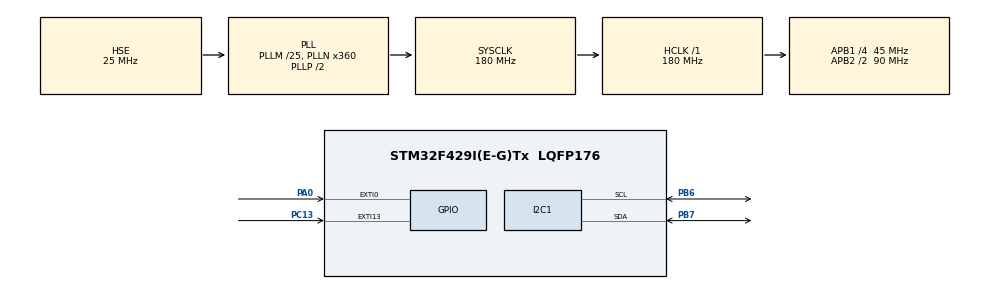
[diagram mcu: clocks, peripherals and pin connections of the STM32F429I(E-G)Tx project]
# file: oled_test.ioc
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I2C1.I2C_Mode=I2C_Fast
Mcu.Family=STM32F4
Mcu.Name=STM32F429I(E-G)Tx
Mcu.Package=LQFP176
NVIC.EXTI0_IRQn=true\:0\:0\:false\:false\:true\:true
NVIC.EXTI15_10_IRQn=true\:0\:0\:false\:false\:true\:true
NVIC.PriorityGroup=NVIC_PRIORITYGROUP_4
PA0/WKUP.GPIO_PuPd=GPIO_PULLDOWN
PA0/WKUP.Signal=GPXTI0
PB6.Mode=I2C
PB6.Signal=I2C1_SCL
PB7.Mode=I2C
PB7.Signal=I2C1_SDA
PC13.GPIO_PuPd=GPIO_PULLDOWN
PC13.Signal=GPXTI13
PH0/OSC_IN.Mode=HSE-External-Oscillator
PH0/OSC_IN.Signal=RCC_OSC_IN
PH1/OSC_OUT.Mode=HSE-External-Oscillator
PH1/OSC_OUT.Signal=RCC_OSC_OUT
ProjectManager.HeapSize=0x200
ProjectManager.StackSize=0x400
ProjectManager.TargetToolchain=MDK-ARM V5
RCC.48MHZClocksFreq_Value=90000000
RCC.AHBFreq_Value=180000000
RCC.APB1CLKDivider=RCC_HCLK_DIV4
RCC.APB1Freq_Value=45000000
RCC.APB1TimFreq_Value=90000000
RCC.APB2CLKDivider=RCC_HCLK_DIV2
RCC.APB2Freq_Value=90000000
RCC.APB2TimFreq_Value=180000000
RCC.CortexFreq_Value=180000000
RCC.EnbaleCSS=true
RCC.HCLKFreq_Value=180000000
RCC.HSE_VALUE=25000000
RCC.HSI_VALUE=16000000
RCC.LSE_VALUE=32768
RCC.PLLM=25
RCC.PLLN=360
RCC.PLLSourceVirtual=RCC_PLLSOURCE_HSE
RCC.SYSCLKFreq_VALUE=180000000
RCC.SYSCLKSource=RCC_SYSCLKSOURCE_PLLCLK
RCC.VCOOutputFreq_Value=360000000
board=custom

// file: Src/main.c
/**
  ******************************************************************************
  * @file           : main.c
  * @brief          : Main program body
  ******************************************************************************
  ** This notice applies to any and all portions of this file
  * that are not between comment pairs USER CODE BEGIN and
  * USER CODE END. Other portions of this file, whether
  * inserted by the user or by software development tools
  * are owned by their respective copyright owners.
  *
  * COPYRIGHT(c) 2019 STMicroelectronics
  *
  * Redistribution and use in source and binary forms, with or without modification,
  * are permitted provided that the following conditions are met:
  *   1. Redistributions of source code must retain the above copyright notice,
  *      this list of conditions and the following disclaimer.
  *   2. Redistributions in binary form must reproduce the above copyright notice,
  *      this list of conditions and the following disclaimer in the documentation
  *      and/or other materials provided with the distribution.
  *   3. Neither the name of STMicroelectronics nor the names of its contributors
  *      may be used to endorse or promote products derived from this software
  *      without specific prior written permission.
  *
  * THIS SOFTWARE IS PROVIDED BY THE COPYRIGHT HOLDERS AND CONTRIBUTORS "AS IS"
  * AND ANY EXPRESS OR IMPLIED WARRANTIES, INCLUDING, BUT NOT LIMITED TO, THE
  * IMPLIED WARRANTIES OF MERCHANTABILITY AND FITNESS FOR A PARTICULAR PURPOSE ARE
  * DISCLAIMED. IN NO EVENT SHALL THE COPYRIGHT HOLDER OR CONTRIBUTORS BE LIABLE
  * FOR ANY DIRECT, INDIRECT, INCIDENTAL, SPECIAL, EXEMPLARY, OR CONSEQUENTIAL
  * DAMAGES (INCLUDING, BUT NOT LIMITED TO, PROCUREMENT OF SUBSTITUTE GOODS OR
  * SERVICES; LOSS OF USE, DATA, OR PROFITS; OR BUSINESS INTERRUPTION) HOWEVER
  * CAUSED AND ON ANY THEORY OF LIABILITY, WHETHER IN CONTRACT, STRICT LIABILITY,
  * OR TORT (INCLUDING NEGLIGENCE OR OTHERWISE) ARISING IN ANY WAY OUT OF THE USE
  * OF THIS SOFTWARE, EVEN IF ADVISED OF THE POSSIBILITY OF SUCH DAMAGE.
  *
  ******************************************************************************
  */
#include "main.h"
#include "stm32f4xx_hal.h"

/* USER CODE BEGIN Includes */
#include "u8g2.h"
#include "u8g2_hal_f429.h"
#include "mpu6050.h"
/* USER CODE END Includes */

I2C_HandleTypeDef hi2c1;

/* USER CODE BEGIN PV */
/* Private variables ---------------------------------------------------------*/
u8g2_t oled;
int pos_x = 0, pos_y = 10;
char display[50];
/* USER CODE END PV */

void SystemClock_Config(void);
static void MX_GPIO_Init(void);
static void MX_I2C1_Init(void);

/* USER CODE BEGIN PFP */
/* Private function prototypes -----------------------------------------------*/
void HAL_GPIO_EXTI_Callback(uint16_t TGR_GPIO);
/* USER CODE END PFP */

int main(void)
{
  /* USER CODE BEGIN 1 */
	short Acel[3];
	short Gyro[3];
	float Temp;
  /* USER CODE END 1 */

  /* MCU Configuration----------------------------------------------------------*/

  /* Reset of all peripherals, Initializes the Flash interface and the Systick. */
  HAL_Init();

  /* Configure the system clock */
  SystemClock_Config();

  /* Initialize all configured peripherals */
  MX_GPIO_Init();
  MX_I2C1_Init();
  /* USER CODE BEGIN 2 */
	u8g2_i2c_handle_init(&hi2c1);
	u8g2_Setup_ssd1306_i2c_128x64_noname_f(&oled, U8G2_R0	, u8x8_byte_i2c_stm32_hal, u8x8_gpio_and_delay_stm32f4_hal);
	u8g2_InitDisplay(&oled);
	u8g2_SetPowerSave(&oled, 0);
	MPU6050_I2C_handle_init(&hi2c1);
	MPU6050_Init();
  /* USER CODE END 2 */

  /* Infinite loop */
  /* USER CODE BEGIN WHILE */

	if(!MPU6050ReadID()){
		u8g2_FirstPage(&oled);
		u8g2_SetFont(&oled, u8g2_font_6x12_mr );
		sprintf(display, "MPU6050 error");
		u8g2_DrawStr(&oled, pos_x, pos_y, display);
		HAL_Delay(30);
		while(u8g2_NextPage(&oled));
		while(1);
	}

  while (1)
  {
		u8g2_FirstPage(&oled);
		do {
			u8g2_SetFont(&oled, u8g2_font_6x12_mr );

			MPU6050ReadAcc(Acel);
			sprintf(display, "acc:%d,%d,%d",Acel[0],Acel[1],Acel[2]);
			u8g2_DrawStr(&oled, pos_x, pos_y, display);

			MPU6050ReadGyro(Gyro);
			sprintf(display, "gyr:%d,%d,%d",Gyro[0],Gyro[1],Gyro[2]);
			u8g2_DrawStr(&oled, pos_x, pos_y + 15, display);

			MPU6050_ReturnTemp(&Temp);
			sprintf(display, "temp%f",Temp);
			u8g2_DrawStr(&oled, pos_x, pos_y + 30, display);

			HAL_Delay(30);
		} while (u8g2_NextPage(&oled) );
  /* USER CODE END WHILE */

  }

}

void SystemClock_Config(void)
{

  RCC_OscInitTypeDef RCC_OscInitStruct;
  RCC_ClkInitTypeDef RCC_ClkInitStruct;

    /**Configure the main internal regulator output voltage
    */
  __HAL_RCC_PWR_CLK_ENABLE();

  __HAL_PWR_VOLTAGESCALING_CONFIG(PWR_REGULATOR_VOLTAGE_SCALE1);

    /**Initializes the CPU, AHB and APB busses clocks
    */
  RCC_OscInitStruct.OscillatorType = RCC_OSCILLATORTYPE_HSE;
  RCC_OscInitStruct.HSEState = RCC_HSE_ON;
  RCC_OscInitStruct.PLL.PLLState = RCC_PLL_ON;
  RCC_OscInitStruct.PLL.PLLSource = RCC_PLLSOURCE_HSE;
  RCC_OscInitStruct.PLL.PLLM = 25;
  RCC_OscInitStruct.PLL.PLLN = 360;
  RCC_OscInitStruct.PLL.PLLP = RCC_PLLP_DIV2;
  RCC_OscInitStruct.PLL.PLLQ = 4;
  if (HAL_RCC_OscConfig(&RCC_OscInitStruct) != HAL_OK)
  {
    _Error_Handler(__FILE__, __LINE__);
  }

    /**Activate the Over-Drive mode
    */
  if (HAL_PWREx_EnableOverDrive() != HAL_OK)
  {
    _Error_Handler(__FILE__, __LINE__);
  }

    /**Initializes the CPU, AHB and APB busses clocks
    */
  RCC_ClkInitStruct.ClockType = RCC_CLOCKTYPE_HCLK|RCC_CLOCKTYPE_SYSCLK
                              |RCC_CLOCKTYPE_PCLK1|RCC_CLOCKTYPE_PCLK2;
  RCC_ClkInitStruct.SYSCLKSource = RCC_SYSCLKSOURCE_PLLCLK;
  RCC_ClkInitStruct.AHBCLKDivider = RCC_SYSCLK_DIV1;
  RCC_ClkInitStruct.APB1CLKDivider = RCC_HCLK_DIV4;
  RCC_ClkInitStruct.APB2CLKDivider = RCC_HCLK_DIV2;

  if (HAL_RCC_ClockConfig(&RCC_ClkInitStruct, FLASH_LATENCY_5) != HAL_OK)
  {
    _Error_Handler(__FILE__, __LINE__);
  }

    /**Enables the Clock Security System
    */
  HAL_RCC_EnableCSS();

    /**Configure the Systick interrupt time
    */
  HAL_SYSTICK_Config(HAL_RCC_GetHCLKFreq()/1000);

    /**Configure the Systick
    */
  HAL_SYSTICK_CLKSourceConfig(SYSTICK_CLKSOURCE_HCLK);

  /* SysTick_IRQn interrupt configuration */
  HAL_NVIC_SetPriority(SysTick_IRQn, 0, 0);
}

/* I2C1 init function */
static void MX_I2C1_Init(void)
{

  hi2c1.Instance = I2C1;
  hi2c1.Init.ClockSpeed = 400000;
  hi2c1.Init.DutyCycle = I2C_DUTYCYCLE_2;
  hi2c1.Init.OwnAddress1 = 0;
  hi2c1.Init.AddressingMode = I2C_ADDRESSINGMODE_7BIT;
  hi2c1.Init.DualAddressMode = I2C_DUALADDRESS_DISABLE;
  hi2c1.Init.OwnAddress2 = 0;
  hi2c1.Init.GeneralCallMode = I2C_GENERALCALL_DISABLE;
  hi2c1.Init.NoStretchMode = I2C_NOSTRETCH_DISABLE;
  if (HAL_I2C_Init(&hi2c1) != HAL_OK)
  {
    _Error_Handler(__FILE__, __LINE__);
  }

}

/** Configure pins as
        * Analog
        * Input
        * Output
        * EVENT_OUT
        * EXTI
*/
static void MX_GPIO_Init(void)
{

  GPIO_InitTypeDef GPIO_InitStruct;

  /* GPIO Ports Clock Enable */
  __HAL_RCC_GPIOC_CLK_ENABLE();
  __HAL_RCC_GPIOH_CLK_ENABLE();
  __HAL_RCC_GPIOA_CLK_ENABLE();
  __HAL_RCC_GPIOB_CLK_ENABLE();

  /*Configure GPIO pin : PC13 */
  GPIO_InitStruct.Pin = GPIO_PIN_13;
  GPIO_InitStruct.Mode = GPIO_MODE_IT_RISING;
  GPIO_InitStruct.Pull = GPIO_PULLDOWN;
  HAL_GPIO_Init(GPIOC, &GPIO_InitStruct);

  /*Configure GPIO pin : PA0 */
  GPIO_InitStruct.Pin = GPIO_PIN_0;
  GPIO_InitStruct.Mode = GPIO_MODE_IT_RISING;
  GPIO_InitStruct.Pull = GPIO_PULLDOWN;
  HAL_GPIO_Init(GPIOA, &GPIO_InitStruct);

  /* EXTI interrupt init*/
  HAL_NVIC_SetPriority(EXTI0_IRQn, 0, 0);
  HAL_NVIC_EnableIRQ(EXTI0_IRQn);

  HAL_NVIC_SetPriority(EXTI15_10_IRQn, 0, 0);
  HAL_NVIC_EnableIRQ(EXTI15_10_IRQn);

}

/* USER CODE BEGIN 4 */
void HAL_GPIO_EXTI_Callback(uint16_t TGR_GPIO){
	if(TGR_GPIO == GPIO_PIN_13){
		while(HAL_GPIO_ReadPin(GPIOC, GPIO_PIN_13)){
			pos_x++;
			int n = 2000000;
			while(n--);
			//HAL_Delay(10);
		}
	}
	else if(TGR_GPIO == GPIO_PIN_0){
		while(HAL_GPIO_ReadPin(GPIOA, GPIO_PIN_0)){
			pos_y++;
			//HAL_Delay(10);
			int n = 2000000;
			while(n--);
		}
	}
}
/* USER CODE END 4 */

void _Error_Handler(char *file, int line)
{
  while(1)
  {
  }
}

/************************ (C) COPYRIGHT STMicroelectronics *****END OF FILE****/
